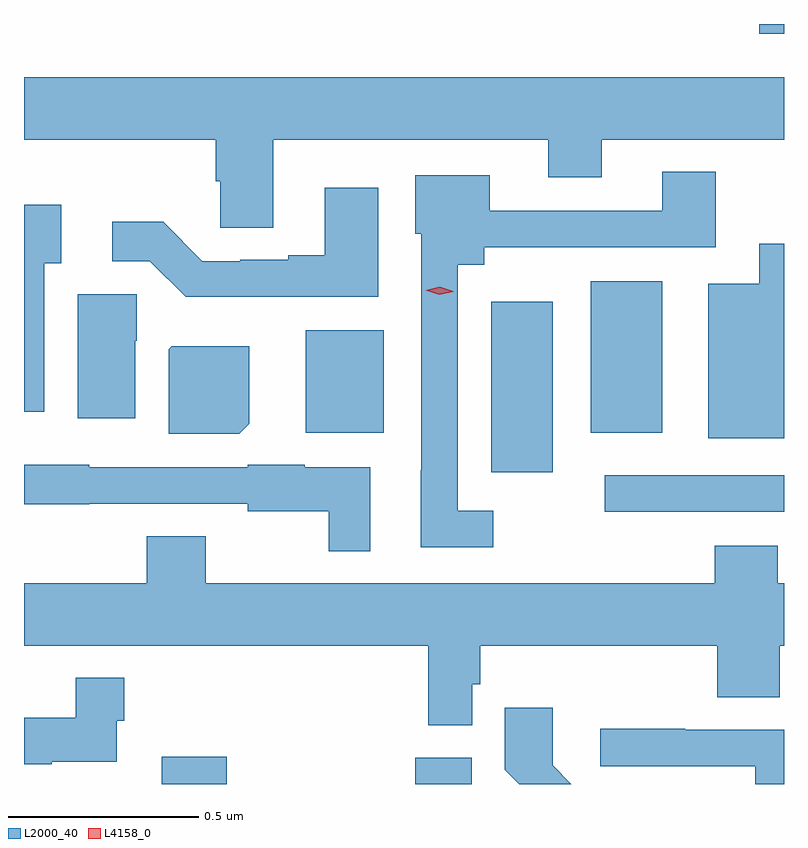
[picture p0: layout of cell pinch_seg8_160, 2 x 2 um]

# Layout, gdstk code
import gdstk
lib = gdstk.Library(unit=1e-6, precision=1e-09)
def R(c, l, rs):  # rectangles x0, y0, x1, y1
    for r in rs: c.add(gdstk.rectangle(r[:2], r[2:], *l))
def P(c, l, *ps):  # polygons
    for p in ps: c.add(gdstk.Polygon(p, *l))
L2000_40 = (2000, 40)
L4158_0 = (4158, 0)

pinch_seg8_160 = lib.new_cell('pinch_seg8_160')
R(pinch_seg8_160, L2000_40, [(724.784,1141.444,724.955,1141.516), (725.45,1141.444,725.599,1141.513), (725.949,1142.16,726.421,1142.256), (725.651,1142.265,725.812,1142.713), (725.162,1142.369,725.368,1142.638), (725.912,1142.369,726.1,1142.767), (726.356,1143.419,726.421,1143.444)])
P(pinch_seg8_160, L2000_40, [(724.421,1143.14),(724.925,1143.14),(724.925,1143.03),(724.938,1143.03),(724.938,1142.908),(725.077,1142.908),(725.077,1143.14),(725.801,1143.14),(725.801,1143.041),(725.941,1143.041),(725.941,1143.14),(726.421,1143.14),(726.421,1143.304),(724.421,1143.304)],
  [(725.656,1142.163),(725.562,1142.163),(725.562,1142.81),(725.632,1142.81),(725.632,1142.856),(726.241,1142.856),(726.241,1143.055),(726.101,1143.055),(726.101,1142.952),(725.647,1142.952),(725.647,1143.046),(725.45,1143.046),(725.45,1142.892),(725.466,1142.892),(725.466,1142.27),(725.465,1142.27),(725.465,1142.067),(725.656,1142.067)],
  [(725.353,1143.013),(725.213,1143.013),(725.213,1142.836),(725.117,1142.836),(725.117,1142.823),(724.99,1142.823),(724.99,1142.82),(724.89,1142.82),(724.788,1142.923),(724.653,1142.923),(724.653,1142.82),(724.752,1142.82),(724.847,1142.726),(725.353,1142.726)],
  [(724.474,1142.814),(724.519,1142.814),(724.519,1142.968),(724.421,1142.968),(724.421,1142.424),(724.474,1142.424)],
  [(726.421,1142.866),(726.356,1142.866),(726.356,1142.761),(726.221,1142.761),(726.221,1142.354),(726.421,1142.354)],
  [(724.714,1142.61),(724.718,1142.61),(724.718,1142.733),(724.562,1142.733),(724.562,1142.406),(724.714,1142.406)],
  [(725.014,1142.392),(725.014,1142.596),(724.81,1142.596),(724.802,1142.588),(724.802,1142.366),(724.988,1142.366)],
  [(725.332,1142.278),(725.16,1142.278),(725.16,1142.284),(725.01,1142.284),(725.01,1142.277),(724.593,1142.277),(724.593,1142.284),(724.421,1142.284),(724.421,1142.18),(724.593,1142.18),(724.593,1142.181),(725.01,1142.181),(725.01,1142.162),(725.223,1142.162),(725.223,1142.057),(725.332,1142.057)],
  [(725.601,1141.707),(725.621,1141.707),(725.621,1141.808),(726.245,1141.808),(726.245,1141.672),(726.41,1141.672),(726.41,1141.808),(726.421,1141.808),(726.421,1141.972),(726.404,1141.972),(726.404,1142.071),(726.239,1142.071),(726.239,1141.972),(724.899,1141.972),(724.899,1142.096),(724.744,1142.096),(724.744,1141.972),(724.421,1141.972),(724.421,1141.808),(725.485,1141.808),(725.485,1141.598),(725.601,1141.598)],
  [(724.494,1141.502),(724.665,1141.502),(724.665,1141.61),(724.685,1141.61),(724.685,1141.723),(724.557,1141.723),(724.557,1141.618),(724.421,1141.618),(724.421,1141.496),(724.494,1141.496)],
  [(725.812,1141.493),(725.812,1141.645),(725.686,1141.645),(725.686,1141.482),(725.724,1141.444),(725.861,1141.444)],
  [(726.421,1141.587),(726.161,1141.587),(726.161,1141.59),(725.937,1141.59),(725.937,1141.491),(726.345,1141.491),(726.345,1141.444),(726.421,1141.444)])
P(pinch_seg8_160, L4158_0, [(725.514,1142.732),(725.478,1142.743),(725.478,1142.743),(725.478,1142.744),(725.515,1142.752),(725.55,1142.741),(725.551,1142.741),(725.55,1142.74)])

lib.write_gds('pinch_seg8_160.gds')
